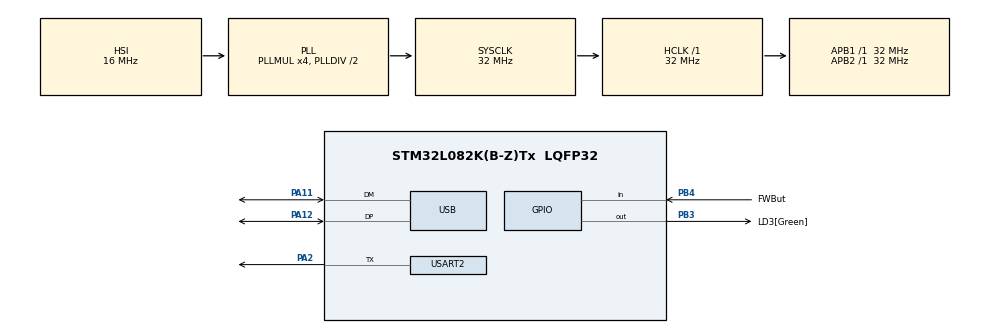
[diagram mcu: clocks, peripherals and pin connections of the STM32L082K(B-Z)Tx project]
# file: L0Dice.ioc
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Mcu.Family=STM32L0
Mcu.Name=STM32L082K(B-Z)Tx
Mcu.Package=LQFP32
NVIC.USB_IRQn=true\:0\:0\:false\:false\:true
PA11.Mode=Device
PA11.Signal=USB_DM
PA12.Mode=Device
PA12.Signal=USB_DP
PA13.Mode=Serial_Wire
PA13.Signal=SYS_SWDIO
PA14.Mode=Serial_Wire
PA14.Signal=SYS_SWCLK
PA2.Mode=Half_duplex(single_wire_mode)
PA2.Signal=USART2_TX
PB3.GPIO_Label=LD3[Green]
PB3.Signal=GPIO_Output
PB4.GPIO_Label=FWBut
PB4.GPIO_PuPd=GPIO_PULLDOWN
PB4.Signal=GPIO_Input
ProjectManager.HeapSize=0x1000
ProjectManager.StackSize=0x500
ProjectManager.TargetToolchain=MDK-ARM V5
RCC.AHBFreq_Value=32000000
RCC.APB1Freq_Value=32000000
RCC.APB1TimFreq_Value=32000000
RCC.APB2Freq_Value=32000000
RCC.APB2TimFreq_Value=32000000
RCC.HCLKFreq_Value=32000000
RCC.HSI16_VALUE=16000000
RCC.HSI48MClockSelection=RCC_USBCLKSOURCE_HSI48
RCC.HSI48_VALUE=48000000
RCC.HSI_VALUE=16000000
RCC.LSE_VALUE=32768
RCC.MSI_VALUE=2097000
RCC.PLLMUL=RCC_PLLMUL_4
RCC.RTCClockSelection=RCC_RTCCLKSOURCE_LSI
RCC.RTCClockSelectionVirtual=RCC_RTCCLKSOURCE_LSE
RCC.SYSCLKFreq_VALUE=32000000
RCC.SYSCLKSource=RCC_SYSCLKSOURCE_PLLCLK
RCC.VCOOutputFreq_Value=64000000
USART2.Mode=UART_MODE_TX
USART2.WordLength=UART_WORDLENGTH_8B
USB_DEVICE.USBD_DFU_MAX_ITF_NUM=1
USB_DEVICE.USBD_DFU_MEDIA=@DiceFlash/0x08000000/63*001Ka,01*256Bc,01*256Bd,32*016Be,32*004Kg/0x08080000/96*064Bg
USB_DEVICE.USBD_HandleTypeDef=hUsbDeviceFS
USB_DEVICE.VirtualMode=Dfu
USB_DEVICE.VirtualModeFS=Dfu_FS
VP_RNG_VS_RNG.Mode=RNG_Activate
VP_USB_DEVICE_VS_USB_DEVICE_DFU_FS.Mode=DFU_FS
board=L0Dice

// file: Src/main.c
/**
  ******************************************************************************
  * File Name          : main.c
  * Description        : Main program body
  ******************************************************************************
  *
  * COPYRIGHT(c) 2016 STMicroelectronics
  *
  * Redistribution and use in source and binary forms, with or without modification,
  * are permitted provided that the following conditions are met:
  *   1. Redistributions of source code must retain the above copyright notice,
  *      this list of conditions and the following disclaimer.
  *   2. Redistributions in binary form must reproduce the above copyright notice,
  *      this list of conditions and the following disclaimer in the documentation
  *      and/or other materials provided with the distribution.
  *   3. Neither the name of STMicroelectronics nor the names of its contributors
  *      may be used to endorse or promote products derived from this software
  *      without specific prior written permission.
  *
  * THIS SOFTWARE IS PROVIDED BY THE COPYRIGHT HOLDERS AND CONTRIBUTORS "AS IS"
  * AND ANY EXPRESS OR IMPLIED WARRANTIES, INCLUDING, BUT NOT LIMITED TO, THE
  * IMPLIED WARRANTIES OF MERCHANTABILITY AND FITNESS FOR A PARTICULAR PURPOSE ARE
  * DISCLAIMED. IN NO EVENT SHALL THE COPYRIGHT HOLDER OR CONTRIBUTORS BE LIABLE
  * FOR ANY DIRECT, INDIRECT, INCIDENTAL, SPECIAL, EXEMPLARY, OR CONSEQUENTIAL
  * DAMAGES (INCLUDING, BUT NOT LIMITED TO, PROCUREMENT OF SUBSTITUTE GOODS OR
  * SERVICES; LOSS OF USE, DATA, OR PROFITS; OR BUSINESS INTERRUPTION) HOWEVER
  * CAUSED AND ON ANY THEORY OF LIABILITY, WHETHER IN CONTRACT, STRICT LIABILITY,
  * OR TORT (INCLUDING NEGLIGENCE OR OTHERWISE) ARISING IN ANY WAY OUT OF THE USE
  * OF THIS SOFTWARE, EVEN IF ADVISED OF THE POSSIBILITY OF SUCH DAMAGE.
  *
  ******************************************************************************
  */
#include "stm32l0xx_hal.h"
#include "usb_device.h"

/* USER CODE BEGIN Includes */
#include "dice.h"
#define DEFAULT_FILE_HANDLE_STDOUT (1)
#define DEFAULT_FILE_HANDLE_STDIN (2)
#define DEFAULT_FILE_HANDLE_STDERR (3)
struct __FILE { int handle; };

/* USER CODE END Includes */

RNG_HandleTypeDef hrng;

UART_HandleTypeDef huart2;

/* USER CODE BEGIN PV */
/* Private variables ---------------------------------------------------------*/
CRYP_HandleTypeDef hcryp ={0};
FIREWALL_InitTypeDef fw_init = {0};
FILE __stdout = {DEFAULT_FILE_HANDLE_STDOUT};
FILE __stdin = {DEFAULT_FILE_HANDLE_STDIN};
FILE __stderr = {DEFAULT_FILE_HANDLE_STDERR};
uint8_t WipeIdentityAndPayloadHeader = 0;

/* USER CODE END PV */

void SystemClock_Config(void);
void Error_Handler(void);
static void MX_GPIO_Init(void);
static void MX_RNG_Init(void);
static void MX_USART2_UART_Init(void);

/* USER CODE BEGIN PFP */
/* Private function prototypes -----------------------------------------------*/
extern void AppKicker(void);

/* USER CODE END PFP */

/* USER CODE BEGIN 0 */
int fputc(int ch, FILE *f)
{
    if(f->handle == DEFAULT_FILE_HANDLE_STDOUT)
    {
//        while(CDC_Transmit_FS((uint8_t*)&ch, sizeof(uint8_t)) == USBD_BUSY);
//        return ch;
    }
    else if(f->handle == DEFAULT_FILE_HANDLE_STDERR)
    {
        while(HAL_UART_Transmit(&huart2, (uint8_t*)&ch, sizeof(uint8_t), HAL_MAX_DELAY) == HAL_BUSY);
        return ch;
    }
    return -1;
}

int fgetc(FILE *f)
{
  if(f->handle == DEFAULT_FILE_HANDLE_STDIN)
  {
//      while((!CDC_RX_Data) && (CDC_DTR));
//      if(CDC_DTR)
//      {
//          int ch = *CDC_RX_Data;
//          CDC_RX_Data = NULL;
//          return ch;
//      }
  }
  return -1;
}

/* USER CODE END 0 */

int main(void)
{

  /* USER CODE BEGIN 1 */
  uint8_t appPayloadInvalid = 0;
  /* USER CODE END 1 */

  /* MCU Configuration----------------------------------------------------------*/

  /* Reset of all peripherals, Initializes the Flash interface and the Systick. */
  HAL_Init();

  /* Configure the system clock */
  SystemClock_Config();

  /* Initialize all configured peripherals */
  MX_GPIO_Init();
  MX_RNG_Init();
  MX_USART2_UART_Init();
//  MX_USB_DEVICE_Init();

  /* USER CODE BEGIN 2 */
	if(WipeIdentityAndPayloadHeader != 0)
	{
		  uint32_t PageError = 0;
      FLASH_EraseInitTypeDef erase = {FLASH_TYPEERASE_PAGES, DICE_PROTECTED_PERSISTED_DATA_ADDRESS, 3};
      if((HAL_FLASH_Unlock() != HAL_OK) ||
				 (HAL_FLASHEx_Erase(&erase, &PageError) != HAL_OK) ||
			   (HAL_FLASH_Lock() != HAL_OK))
      {
				fprintf(&__stderr, "WipeIdentityAndPayloadHeader failed.\r\n");
				for(;;);
      }
			WipeIdentityAndPayloadHeader = 0;
	}
  DiceInitialize();

  // Secure the platform before we interact with the outside world
  DiceDumpProtectedData(&__stderr);
  if(DiceDeriveData() != HAL_OK)
  {
      fprintf(&__stderr, "DiceDeriveData() failed.\r\n");
      for(;;);
  }
  DiceDumpAppInfo(&__stderr);
  DiceVolatileData(&__stderr);
  appPayloadInvalid = (DiceAuthorizeAppPayload() != HAL_OK);
  fprintf(&__stderr, "App payload is *%s*\r\n", (!appPayloadInvalid) ? "AUTHORIZED" : "INVALID");
  if(DiceLockOutPersistedData() != HAL_OK)
  {
      fprintf(&__stderr, "DiceLockOutPersistedData() failed.\r\n");
      for(;;);
  }
  fprintf(&__stderr, "Persisted device data is *%s*\r\n", (diceVolatileData->firewallArmed != 0) ? "SECURED" : "UNINITIALIZED");

  // Is USB DFU mode needed/requested?
  if((appPayloadInvalid) ||
     (HAL_GPIO_ReadPin(FWBut_GPIO_Port, FWBut_Pin) == GPIO_PIN_SET))
  {
    fprintf(&__stderr, "==== Starting USB DFU Mode ==========================================\r\n");
    fprintf(&__stderr, "Scrubing derived identities from memory...\r\n");
    memset(diceVolatileData->info.diceCompoundIds[DICE_DEVICE_CLASS], 0x00, sizeof(diceVolatileData->info.diceCompoundIds[DICE_DEVICE_CLASS]));
#ifdef DICE_INCLUDE_MANUFACTURERID
    memset(diceVolatileData->info.diceCompoundIds[DICE_MANUFACTURER_CLASS], 0x00, sizeof(diceVolatileData->info.diceCompoundIds[DICE_MANUFACTURER_CLASS]));
#endif
#ifdef DICE_INCLUDE_OPERATORID
    memset(diceVolatileData->info.diceCompoundIds[DICE_OPERATOR_CLASS], 0x00, sizeof(diceVolatileData->info.diceCompoundIds[DICE_OPERATOR_CLASS]));
#endif
    fprintf(&__stderr, "Starting USB DFU stack...\r\n");
    MX_USB_DEVICE_Init();
    fprintf(&__stderr, "Reboot to exit DFU...\r\n");
    for(;;)
    {
      // Only a reset gets us out from here
      HAL_GPIO_TogglePin(LD3_GPIO_Port, LD3_Pin);
      HAL_Delay(100);
      HAL_GPIO_TogglePin(LD3_GPIO_Port, LD3_Pin);
      HAL_Delay(100);
      HAL_GPIO_TogglePin(LD3_GPIO_Port, LD3_Pin);
      HAL_Delay(100);
      HAL_GPIO_TogglePin(LD3_GPIO_Port, LD3_Pin);
      HAL_Delay(750);
    }
  }

  fprintf(&__stderr, "==== Action: Application Launch =====================================\r\n");
  // Transition to app payload
  fprintf(&__stderr, "DeInitializing HAL\r\n");
  // Release the clock source
  HAL_RCC_DeInit();
  // Release the HAL
  HAL_DeInit();
  // Redirect the vector table to the application vector table
  SCB->VTOR = DICE_APP_PAYLOAD_ADDRESS;
  // Wipe all RAM after the identity table to make sure we didn't leave anything around
  for(uint32_t n = 0; n < 0x4F00; n++) ((uint8_t*)0x20000100)[n] = 0x00;
  // Set the stackpointer to where the application expects it
  __set_MSP(*((uint32_t*)DICE_APP_PAYLOAD_ADDRESS));
  // Jump into the abyss
  ((void (*)(void)) *((uint32_t*)(DICE_APP_PAYLOAD_ADDRESS + sizeof(uint32_t))))();
  // We will never return from this call!!
  /* USER CODE END 2 */

  /* Infinite loop */
  /* USER CODE BEGIN WHILE */
  // We should never get here...
  while (1)
  {
  /* USER CODE END WHILE */
  }
}

/** System Clock Configuration
*/
void SystemClock_Config(void)
{

  RCC_OscInitTypeDef RCC_OscInitStruct;
  RCC_ClkInitTypeDef RCC_ClkInitStruct;
  RCC_PeriphCLKInitTypeDef PeriphClkInit;

  __HAL_RCC_PWR_CLK_ENABLE();

  __HAL_PWR_VOLTAGESCALING_CONFIG(PWR_REGULATOR_VOLTAGE_SCALE1);

  RCC_OscInitStruct.OscillatorType = RCC_OSCILLATORTYPE_HSI|RCC_OSCILLATORTYPE_HSI48;
  RCC_OscInitStruct.HSIState = RCC_HSI_ON;
  RCC_OscInitStruct.HSICalibrationValue = 16;
  RCC_OscInitStruct.HSI48State = RCC_HSI48_ON;
  RCC_OscInitStruct.PLL.PLLState = RCC_PLL_ON;
  RCC_OscInitStruct.PLL.PLLSource = RCC_PLLSOURCE_HSI;
  RCC_OscInitStruct.PLL.PLLMUL = RCC_PLLMUL_4;
  RCC_OscInitStruct.PLL.PLLDIV = RCC_PLLDIV_2;
  if (HAL_RCC_OscConfig(&RCC_OscInitStruct) != HAL_OK)
  {
    Error_Handler();
  }

  RCC_ClkInitStruct.ClockType = RCC_CLOCKTYPE_HCLK|RCC_CLOCKTYPE_SYSCLK
                              |RCC_CLOCKTYPE_PCLK1|RCC_CLOCKTYPE_PCLK2;
  RCC_ClkInitStruct.SYSCLKSource = RCC_SYSCLKSOURCE_PLLCLK;
  RCC_ClkInitStruct.AHBCLKDivider = RCC_SYSCLK_DIV1;
  RCC_ClkInitStruct.APB1CLKDivider = RCC_HCLK_DIV1;
  RCC_ClkInitStruct.APB2CLKDivider = RCC_HCLK_DIV1;
  if (HAL_RCC_ClockConfig(&RCC_ClkInitStruct, FLASH_LATENCY_1) != HAL_OK)
  {
    Error_Handler();
  }

  PeriphClkInit.PeriphClockSelection = RCC_PERIPHCLK_USART2|RCC_PERIPHCLK_USB;
  PeriphClkInit.Usart2ClockSelection = RCC_USART2CLKSOURCE_PCLK1;
  PeriphClkInit.UsbClockSelection = RCC_USBCLKSOURCE_HSI48;
  if (HAL_RCCEx_PeriphCLKConfig(&PeriphClkInit) != HAL_OK)
  {
    Error_Handler();
  }

  HAL_SYSTICK_Config(HAL_RCC_GetHCLKFreq()/1000);

  HAL_SYSTICK_CLKSourceConfig(SYSTICK_CLKSOURCE_HCLK);

  /* SysTick_IRQn interrupt configuration */
  HAL_NVIC_SetPriority(SysTick_IRQn, 0, 0);
}

/* RNG init function */
static void MX_RNG_Init(void)
{

  hrng.Instance = RNG;
  if (HAL_RNG_Init(&hrng) != HAL_OK)
  {
    Error_Handler();
  }

}

/* USART2 init function */
static void MX_USART2_UART_Init(void)
{

  huart2.Instance = USART2;
  huart2.Init.BaudRate = 115200;
  huart2.Init.WordLength = UART_WORDLENGTH_8B;
  huart2.Init.StopBits = UART_STOPBITS_1;
  huart2.Init.Parity = UART_PARITY_NONE;
  huart2.Init.Mode = UART_MODE_TX;
  huart2.Init.HwFlowCtl = UART_HWCONTROL_NONE;
  huart2.Init.OverSampling = UART_OVERSAMPLING_16;
  huart2.Init.OneBitSampling = UART_ONE_BIT_SAMPLE_DISABLE;
  huart2.AdvancedInit.AdvFeatureInit = UART_ADVFEATURE_NO_INIT;
  if (HAL_HalfDuplex_Init(&huart2) != HAL_OK)
  {
    Error_Handler();
  }

}

/** Configure pins as
        * Analog
        * Input
        * Output
        * EVENT_OUT
        * EXTI
*/
static void MX_GPIO_Init(void)
{

  GPIO_InitTypeDef GPIO_InitStruct;

  /* GPIO Ports Clock Enable */
  __HAL_RCC_GPIOA_CLK_ENABLE();
  __HAL_RCC_GPIOB_CLK_ENABLE();

  /*Configure GPIO pin Output Level */
  HAL_GPIO_WritePin(LD3_GPIO_Port, LD3_Pin, GPIO_PIN_RESET);

  /*Configure GPIO pin : LD3_Pin */
  GPIO_InitStruct.Pin = LD3_Pin;
  GPIO_InitStruct.Mode = GPIO_MODE_OUTPUT_PP;
  GPIO_InitStruct.Pull = GPIO_NOPULL;
  GPIO_InitStruct.Speed = GPIO_SPEED_FREQ_LOW;
  HAL_GPIO_Init(LD3_GPIO_Port, &GPIO_InitStruct);

  /*Configure GPIO pin : FWBut_Pin */
  GPIO_InitStruct.Pin = FWBut_Pin;
  GPIO_InitStruct.Mode = GPIO_MODE_INPUT;
  GPIO_InitStruct.Pull = GPIO_PULLDOWN;
  HAL_GPIO_Init(FWBut_GPIO_Port, &GPIO_InitStruct);

}

void Error_Handler(void)
{
  while(1)
  {
  }
}

/************************ (C) COPYRIGHT STMicroelectronics *****END OF FILE****/
